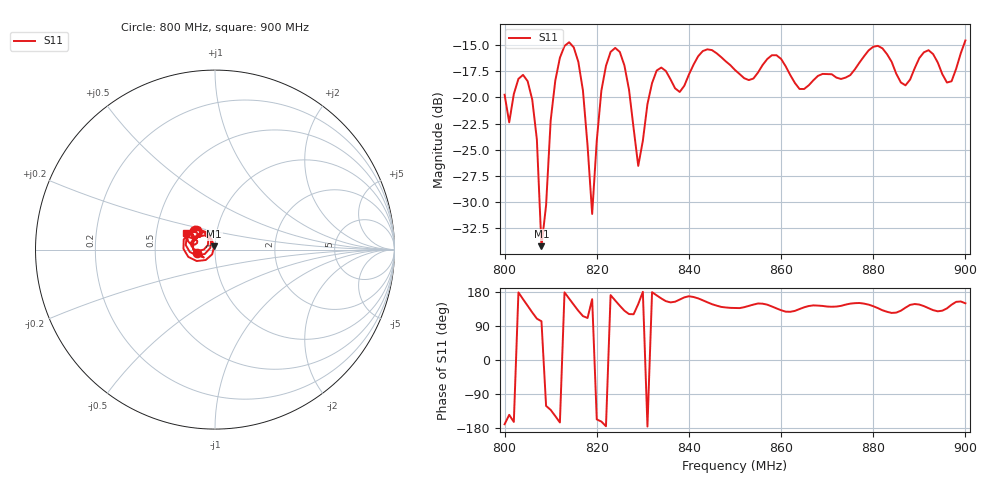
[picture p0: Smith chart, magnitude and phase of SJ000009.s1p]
!File created by NanoVNA-F V2
# Hz S RI R 50
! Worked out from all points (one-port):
!   101 points, 800 MHz to 900 MHz, reference 50 ohm
!   lowest |S11| = -34.2 dB at 808 MHz (marker M1), VSWR 1.04, Z = 49.6 + j1.89 ohm
!   |S11| at or under -10 dB: start of sweep to end of sweep
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8e8  -0.1012 -0.0188
8.01e8  -0.0621 -0.0439
8.03e8  -0.1225 0.00335
8.06e8  -0.0566 0.0793
8.07e8  -0.0207 0.0596
8.08e8  -0.00411 0.0191
8.09e8  -0.0158 -0.0262
8.1e8  -0.0517 -0.058
8.13e8  -0.1758 0.00447
8.16e8  -0.0947 0.1133
8.17e8  -0.0471 0.097
8.19e8  -0.0262 0.00925
8.21e8  -0.1027 -0.0325
8.23e8  -0.1628 0.025
8.25e8  -0.1318 0.0987
8.29e8  -0.0398 0.0252
8.33e8  -0.1324 0.022
8.38e8  -0.0994 0.0372
8.43e8  -0.1537 0.0633
8.5e8  -0.0991 0.0917
8.59e8  -0.1146 0.11
8.63e8  -0.0747 0.0902
8.75e8  -0.109 0.0662
8.81e8  -0.1287 0.1202
8.88e8  -0.1002 0.069
8.92e8  -0.1223 0.1149
8.97e8  -0.0989 0.0669
9e8  -0.1611 0.0946
